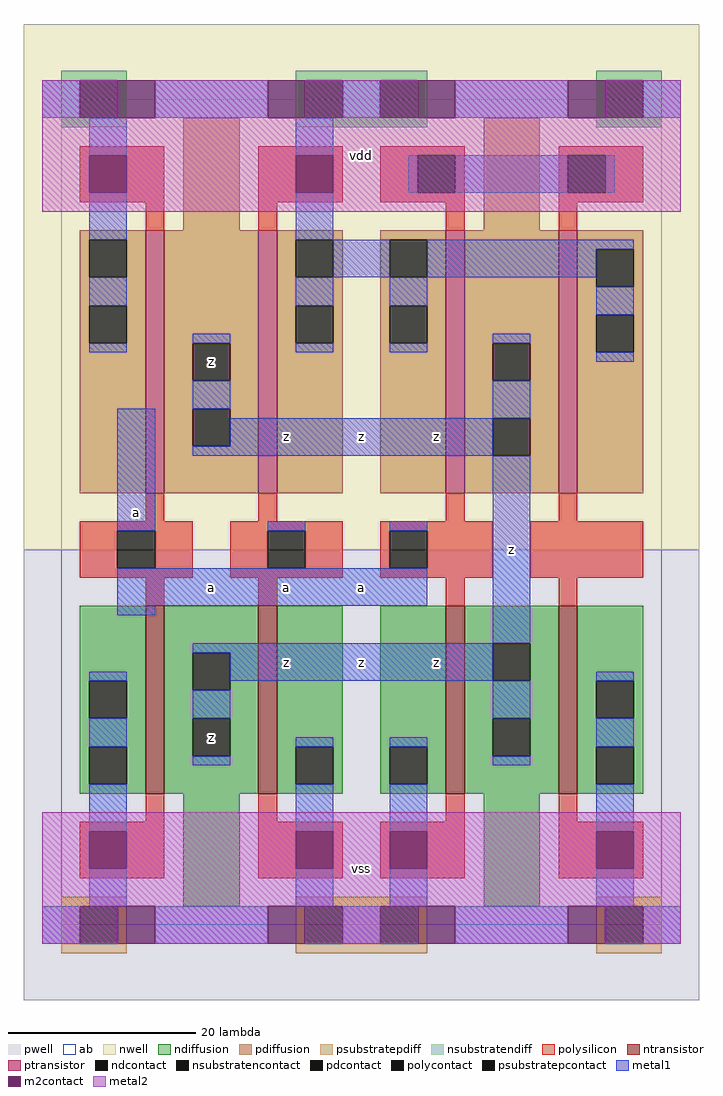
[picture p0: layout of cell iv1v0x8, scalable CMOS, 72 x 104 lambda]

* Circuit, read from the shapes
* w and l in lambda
.subckt iv1v0x8 a vdd vss z
M1 z a vss vss nfet w=20 l=2 m=4
M2 z a vdd vdd pfet w=28 l=2 m=4
.ends

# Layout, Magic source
magic
tech scmos
<< ab >>
rect 0 0 64 88
<< pwell >>
rect -4 -8 68 40
<< nwell >>
rect -4 40 68 96
<< polysilicon >>
rect 2 77 11 83
rect 9 74 11 77
rect 21 77 30 83
rect 34 82 43 83
rect 34 78 38 82
rect 42 78 43 82
rect 34 77 43 78
rect 21 74 23 77
rect 41 74 43 77
rect 53 82 62 83
rect 53 78 54 82
rect 58 78 62 82
rect 53 77 62 78
rect 53 74 55 77
rect 9 43 11 46
rect 21 43 23 46
rect 41 43 43 46
rect 53 43 55 46
rect 2 42 14 43
rect 2 38 6 42
rect 10 38 14 42
rect 2 37 14 38
rect 18 42 30 43
rect 18 38 22 42
rect 26 38 30 42
rect 18 37 30 38
rect 34 42 46 43
rect 34 38 35 42
rect 39 38 46 42
rect 34 37 46 38
rect 50 37 62 43
rect 9 34 11 37
rect 21 34 23 37
rect 41 34 43 37
rect 53 34 55 37
rect 9 11 11 14
rect 2 5 11 11
rect 21 11 23 14
rect 41 11 43 14
rect 21 5 30 11
rect 34 5 43 11
rect 53 11 55 14
rect 53 5 62 11
<< ndiffusion >>
rect 2 26 9 34
rect 2 22 3 26
rect 7 22 9 26
rect 2 19 9 22
rect 2 15 3 19
rect 7 15 9 19
rect 2 14 9 15
rect 11 29 21 34
rect 11 25 14 29
rect 18 25 21 29
rect 11 22 21 25
rect 11 18 14 22
rect 18 18 21 22
rect 11 14 21 18
rect 23 19 30 34
rect 23 15 25 19
rect 29 15 30 19
rect 23 14 30 15
rect 34 19 41 34
rect 34 15 35 19
rect 39 15 41 19
rect 34 14 41 15
rect 43 30 53 34
rect 43 26 46 30
rect 50 26 53 30
rect 43 22 53 26
rect 43 18 46 22
rect 50 18 53 22
rect 43 14 53 18
rect 55 26 62 34
rect 55 22 57 26
rect 61 22 62 26
rect 55 19 62 22
rect 55 15 57 19
rect 61 15 62 19
rect 55 14 62 15
rect 13 2 19 14
rect 45 2 51 14
<< pdiffusion >>
rect 13 74 19 86
rect 45 74 51 86
rect 2 73 9 74
rect 2 69 3 73
rect 7 69 9 73
rect 2 66 9 69
rect 2 62 3 66
rect 7 62 9 66
rect 2 46 9 62
rect 11 62 21 74
rect 11 58 14 62
rect 18 58 21 62
rect 11 55 21 58
rect 11 51 14 55
rect 18 51 21 55
rect 11 46 21 51
rect 23 73 30 74
rect 23 69 25 73
rect 29 69 30 73
rect 23 66 30 69
rect 23 62 25 66
rect 29 62 30 66
rect 23 46 30 62
rect 34 73 41 74
rect 34 69 35 73
rect 39 69 41 73
rect 34 66 41 69
rect 34 62 35 66
rect 39 62 41 66
rect 34 46 41 62
rect 43 62 53 74
rect 43 58 46 62
rect 50 58 53 62
rect 43 54 53 58
rect 43 50 46 54
rect 50 50 53 54
rect 43 46 53 50
rect 55 72 62 74
rect 55 68 57 72
rect 61 68 62 72
rect 55 65 62 68
rect 55 61 57 65
rect 61 61 62 65
rect 55 46 62 61
<< metal1 >>
rect -2 86 2 90
rect 10 86 22 90
rect 30 86 34 90
rect 42 86 54 90
rect 62 86 66 90
rect 3 82 7 86
rect 3 73 7 78
rect 3 66 7 69
rect 25 82 29 86
rect 37 78 38 82
rect 42 78 54 82
rect 58 78 59 82
rect 25 73 29 78
rect 29 69 35 73
rect 39 72 61 73
rect 39 69 57 72
rect 25 66 29 69
rect 3 61 7 62
rect 14 62 18 63
rect 25 61 29 62
rect 35 66 39 69
rect 57 65 61 68
rect 35 61 39 62
rect 46 62 50 63
rect 14 55 18 58
rect 6 42 10 55
rect 57 60 61 61
rect 46 54 50 58
rect 18 51 46 54
rect 14 50 46 51
rect 22 42 26 43
rect 35 42 39 43
rect 6 34 39 38
rect 6 33 10 34
rect 46 30 50 50
rect 14 29 46 30
rect 3 26 7 27
rect 3 19 7 22
rect 18 26 46 29
rect 14 22 18 25
rect 46 22 50 26
rect 14 17 18 18
rect 25 19 29 20
rect 3 10 7 15
rect 3 2 7 6
rect 25 10 29 15
rect 25 2 29 6
rect 35 19 39 20
rect 46 17 50 18
rect 57 26 61 27
rect 57 19 61 22
rect 35 10 39 15
rect 35 2 39 6
rect 57 10 61 15
rect 57 2 61 6
rect -2 -2 2 2
rect 10 -2 22 2
rect 30 -2 34 2
rect 42 -2 54 2
rect 62 -2 66 2
<< metal2 >>
rect -2 86 6 90
rect 10 86 22 90
rect 26 86 38 90
rect 42 86 54 90
rect 58 86 66 90
rect -2 82 66 86
rect -2 78 3 82
rect 7 78 25 82
rect 29 78 66 82
rect -2 76 66 78
rect -2 10 66 12
rect -2 6 3 10
rect 7 6 25 10
rect 29 6 35 10
rect 39 6 57 10
rect 61 6 66 10
rect -2 2 66 6
rect -2 -2 6 2
rect 10 -2 22 2
rect 26 -2 38 2
rect 42 -2 54 2
rect 58 -2 66 2
<< ntransistor >>
rect 9 14 11 34
rect 21 14 23 34
rect 41 14 43 34
rect 53 14 55 34
<< ptransistor >>
rect 9 46 11 74
rect 21 46 23 74
rect 41 46 43 74
rect 53 46 55 74
<< polycontact >>
rect 38 78 42 82
rect 54 78 58 82
rect 6 38 10 42
rect 22 38 26 42
rect 35 38 39 42
<< ndcontact >>
rect 3 22 7 26
rect 3 15 7 19
rect 14 25 18 29
rect 14 18 18 22
rect 25 15 29 19
rect 35 15 39 19
rect 46 26 50 30
rect 46 18 50 22
rect 57 22 61 26
rect 57 15 61 19
<< pdcontact >>
rect 3 69 7 73
rect 3 62 7 66
rect 14 58 18 62
rect 14 51 18 55
rect 25 69 29 73
rect 25 62 29 66
rect 35 69 39 73
rect 35 62 39 66
rect 46 58 50 62
rect 46 50 50 54
rect 57 68 61 72
rect 57 61 61 65
<< m2contact >>
rect 6 86 10 90
rect 22 86 26 90
rect 38 86 42 90
rect 54 86 58 90
rect 3 78 7 82
rect 25 78 29 82
rect 3 6 7 10
rect 25 6 29 10
rect 35 6 39 10
rect 57 6 61 10
rect 6 -2 10 2
rect 22 -2 26 2
rect 38 -2 42 2
rect 54 -2 58 2
<< psubstratepcontact >>
rect 2 -2 6 2
rect 26 -2 30 2
rect 34 -2 38 2
rect 58 -2 62 2
<< nsubstratencontact >>
rect 2 86 6 90
rect 26 86 30 90
rect 34 86 38 90
rect 58 86 62 90
<< psubstratepdiff >>
rect 0 2 7 3
rect 25 2 39 3
rect 57 2 64 3
rect 0 -2 2 2
rect 6 -2 7 2
rect 0 -3 7 -2
rect 25 -2 26 2
rect 30 -2 34 2
rect 38 -2 39 2
rect 25 -3 39 -2
rect 57 -2 58 2
rect 62 -2 64 2
rect 57 -3 64 -2
<< nsubstratendiff >>
rect 0 90 7 91
rect 0 86 2 90
rect 6 86 7 90
rect 25 90 39 91
rect 25 86 26 90
rect 30 86 34 90
rect 38 86 39 90
rect 57 90 64 91
rect 57 86 58 90
rect 62 86 64 90
rect 0 85 7 86
rect 25 85 39 86
rect 57 85 64 86
<< labels >>
rlabel metal1 8 44 8 44 6 a
rlabel ndcontact 16 20 16 20 6 z
rlabel metal1 16 36 16 36 6 a
rlabel pdcontact 16 60 16 60 6 z
rlabel metal1 24 28 24 28 6 z
rlabel metal1 32 28 32 28 6 z
rlabel metal1 32 36 32 36 6 a
rlabel metal1 24 36 24 36 6 a
rlabel metal1 32 52 32 52 6 z
rlabel metal1 24 52 24 52 6 z
rlabel metal1 40 28 40 28 6 z
rlabel metal1 48 40 48 40 6 z
rlabel metal1 40 52 40 52 6 z
rlabel metal2 32 6 32 6 6 vss
rlabel metal2 32 82 32 82 6 vdd
<< end >>
